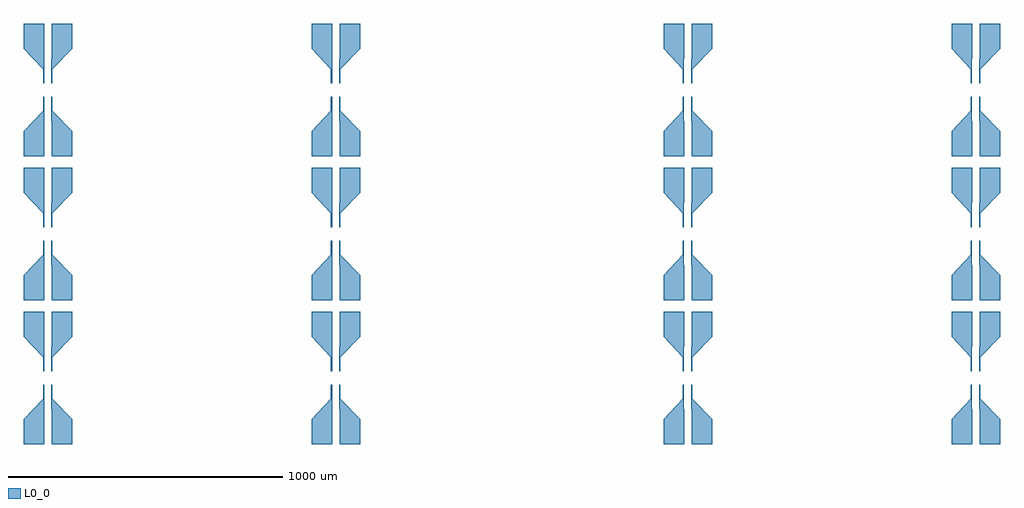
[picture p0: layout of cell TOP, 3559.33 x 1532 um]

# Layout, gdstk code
import gdstk
lib = gdstk.Library(unit=1e-6, precision=1e-09)
def P(c, l, *ps):  # polygons
    for p in ps: c.add(gdstk.Polygon(p, *l))
L0_0 = (0, 0)

top = lib.new_cell('TOP')
P(top, L0_0, [(1706.833,1208),(1706.833,1298),(1776.333,1373),(1776.333,1425),(1780.333,1425),(1780.333,1373),(1780.833,1298),(1780.833,1208)],
  [(5192.167,1208),(5192.167,1298),(5189.733,1371),(5189.667,1371),(5189.667,1425),(5193.667,1425),(5193.667,1373),(5266.167,1298),(5266.167,1208)],
  [(5090.167,1208),(5090.167,1298),(5159.667,1373),(5159.667,1425),(5163.667,1425),(5163.667,1373),(5164.167,1298),(5164.167,1208)],
  [(2858.833,1208),(2858.833,1298),(2856.4,1371),(2856.333,1371),(2856.333,1425),(2860.333,1425),(2860.333,1373),(2932.833,1298),(2932.833,1208)],
  [(2756.833,1208),(2756.833,1298),(2826.333,1373),(2826.333,1425),(2830.333,1425),(2830.333,1373),(2830.833,1298),(2830.833,1208)],
  [(1808.833,1208),(1808.833,1298),(1806.4,1371),(1806.333,1371),(1806.333,1425),(1810.333,1425),(1810.333,1373),(1882.833,1298),(1882.833,1208)],
  [(4142.167,1208),(4142.167,1298),(4139.733,1371),(4139.667,1371),(4139.667,1425),(4143.667,1425),(4143.667,1373),(4216.167,1298),(4216.167,1208)],
  [(4040.167,1208),(4040.167,1298),(4109.667,1373),(4109.667,1425),(4113.667,1425),(4113.667,1373),(4114.167,1298),(4114.167,1208)],
  [(2826.333,1473),(2826.333,1525),(2756.833,1600),(2756.833,1690),(2830.833,1690),(2830.833,1600),(2830.333,1525),(2830.333,1473)],
  [(1806.333,1473),(1806.333,1527),(1806.4,1527),(1808.833,1600),(1808.833,1690),(1882.833,1690),(1882.833,1600),(1810.333,1525),(1810.333,1473)],
  [(1776.333,1473),(1776.333,1525),(1706.833,1600),(1706.833,1690),(1780.833,1690),(1780.833,1600),(1780.333,1525),(1780.333,1473)],
  [(4139.667,1473),(4139.667,1527),(4139.733,1527),(4142.167,1600),(4142.167,1690),(4216.167,1690),(4216.167,1600),(4143.667,1525),(4143.667,1473)],
  [(5189.667,1473),(5189.667,1527),(5189.733,1527),(5192.167,1600),(5192.167,1690),(5266.167,1690),(5266.167,1600),(5193.667,1525),(5193.667,1473)],
  [(5159.667,1473),(5159.667,1525),(5090.167,1600),(5090.167,1690),(5164.167,1690),(5164.167,1600),(5163.667,1525),(5163.667,1473)],
  [(4109.667,1473),(4109.667,1525),(4040.167,1600),(4040.167,1690),(4114.167,1690),(4114.167,1600),(4113.667,1525),(4113.667,1473)],
  [(2856.333,1473),(2856.333,1527),(2856.4,1527),(2858.833,1600),(2858.833,1690),(2932.833,1690),(2932.833,1600),(2860.333,1525),(2860.333,1473)],
  [(1706.833,1733),(1706.833,1823),(1776.333,1898),(1776.333,1950),(1780.333,1950),(1780.333,1898),(1780.833,1823),(1780.833,1733)],
  [(1808.833,1733),(1808.833,1823),(1806.4,1896),(1806.333,1896),(1806.333,1950),(1810.333,1950),(1810.333,1898),(1882.833,1823),(1882.833,1733)],
  [(5192.167,1733),(5192.167,1823),(5189.733,1896),(5189.667,1896),(5189.667,1950),(5193.667,1950),(5193.667,1898),(5266.167,1823),(5266.167,1733)],
  [(5090.167,1733),(5090.167,1823),(5159.667,1898),(5159.667,1950),(5163.667,1950),(5163.667,1898),(5164.167,1823),(5164.167,1733)],
  [(4142.167,1733),(4142.167,1823),(4139.733,1896),(4139.667,1896),(4139.667,1950),(4143.667,1950),(4143.667,1898),(4216.167,1823),(4216.167,1733)],
  [(2858.833,1733),(2858.833,1823),(2856.4,1896),(2856.333,1896),(2856.333,1950),(2860.333,1950),(2860.333,1898),(2932.833,1823),(2932.833,1733)],
  [(2756.833,1733),(2756.833,1823),(2826.333,1898),(2826.333,1950),(2830.333,1950),(2830.333,1898),(2830.833,1823),(2830.833,1733)],
  [(4040.167,1733),(4040.167,1823),(4109.667,1898),(4109.667,1950),(4113.667,1950),(4113.667,1898),(4114.167,1823),(4114.167,1733)],
  [(1806.333,1998),(1806.333,2052),(1806.4,2052),(1808.833,2125),(1808.833,2215),(1882.833,2215),(1882.833,2125),(1810.333,2050),(1810.333,1998)],
  [(1776.333,1998),(1776.333,2050),(1706.833,2125),(1706.833,2215),(1780.833,2215),(1780.833,2125),(1780.333,2050),(1780.333,1998)],
  [(4139.667,1998),(4139.667,2052),(4139.733,2052),(4142.167,2125),(4142.167,2215),(4216.167,2215),(4216.167,2125),(4143.667,2050),(4143.667,1998)],
  [(5189.667,1998),(5189.667,2052),(5189.733,2052),(5192.167,2125),(5192.167,2215),(5266.167,2215),(5266.167,2125),(5193.667,2050),(5193.667,1998)],
  [(5159.667,1998),(5159.667,2050),(5090.167,2125),(5090.167,2215),(5164.167,2215),(5164.167,2125),(5163.667,2050),(5163.667,1998)],
  [(2856.333,1998),(2856.333,2052),(2856.4,2052),(2858.833,2125),(2858.833,2215),(2932.833,2215),(2932.833,2125),(2860.333,2050),(2860.333,1998)],
  [(4109.667,1998),(4109.667,2050),(4040.167,2125),(4040.167,2215),(4114.167,2215),(4114.167,2125),(4113.667,2050),(4113.667,1998)],
  [(2826.333,1998),(2826.333,2050),(2756.833,2125),(2756.833,2215),(2830.833,2215),(2830.833,2125),(2830.333,2050),(2830.333,1998)],
  [(5192.167,2258),(5192.167,2348),(5189.733,2421),(5189.667,2421),(5189.667,2475),(5193.667,2475),(5193.667,2423),(5266.167,2348),(5266.167,2258)],
  [(4040.167,2258),(4040.167,2348),(4109.667,2423),(4109.667,2475),(4113.667,2475),(4113.667,2423),(4114.167,2348),(4114.167,2258)],
  [(4142.167,2258),(4142.167,2348),(4139.733,2421),(4139.667,2421),(4139.667,2475),(4143.667,2475),(4143.667,2423),(4216.167,2348),(4216.167,2258)],
  [(5090.167,2258),(5090.167,2348),(5159.667,2423),(5159.667,2475),(5163.667,2475),(5163.667,2423),(5164.167,2348),(5164.167,2258)],
  [(1808.833,2258),(1808.833,2348),(1806.4,2421),(1806.333,2421),(1806.333,2475),(1810.333,2475),(1810.333,2423),(1882.833,2348),(1882.833,2258)],
  [(1706.833,2258),(1706.833,2348),(1776.333,2423),(1776.333,2475),(1780.333,2475),(1780.333,2423),(1780.833,2348),(1780.833,2258)],
  [(2756.833,2258),(2756.833,2348),(2826.333,2423),(2826.333,2475),(2830.333,2475),(2830.333,2423),(2830.833,2348),(2830.833,2258)],
  [(2858.833,2258),(2858.833,2348),(2856.4,2421),(2856.333,2421),(2856.333,2475),(2860.333,2475),(2860.333,2423),(2932.833,2348),(2932.833,2258)],
  [(2856.333,2523),(2856.333,2577),(2856.4,2577),(2858.833,2650),(2858.833,2740),(2932.833,2740),(2932.833,2650),(2860.333,2575),(2860.333,2523)],
  [(1776.333,2523),(1776.333,2575),(1706.833,2650),(1706.833,2740),(1780.833,2740),(1780.833,2650),(1780.333,2575),(1780.333,2523)],
  [(1806.333,2523),(1806.333,2577),(1806.4,2577),(1808.833,2650),(1808.833,2740),(1882.833,2740),(1882.833,2650),(1810.333,2575),(1810.333,2523)],
  [(2826.333,2523),(2826.333,2575),(2756.833,2650),(2756.833,2740),(2830.833,2740),(2830.833,2650),(2830.333,2575),(2830.333,2523)],
  [(5189.667,2523),(5189.667,2577),(5189.733,2577),(5192.167,2650),(5192.167,2740),(5266.167,2740),(5266.167,2650),(5193.667,2575),(5193.667,2523)],
  [(5159.667,2523),(5159.667,2575),(5090.167,2650),(5090.167,2740),(5164.167,2740),(5164.167,2650),(5163.667,2575),(5163.667,2523)],
  [(4139.667,2523),(4139.667,2577),(4139.733,2577),(4142.167,2650),(4142.167,2740),(4216.167,2740),(4216.167,2650),(4143.667,2575),(4143.667,2523)],
  [(4109.667,2523),(4109.667,2575),(4040.167,2650),(4040.167,2740),(4114.167,2740),(4114.167,2650),(4113.667,2575),(4113.667,2523)])

lib.write_gds('TOP.gds')
